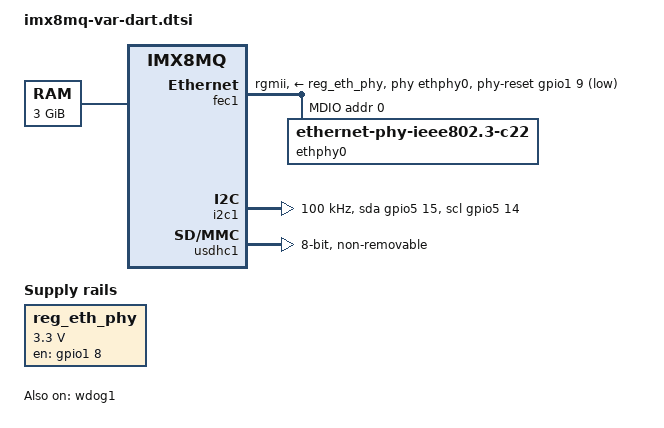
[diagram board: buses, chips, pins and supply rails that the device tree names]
// SPDX-License-Identifier: (GPL-2.0 OR MIT)
/*
 * Copyright 2017 NXP
 * Copyright (C) 2017-2018 Pengutronix, Lucas Stach <kernel@pengutronix.de>
 * Copyright 2020 Variscite Ltd.
 */

/dts-v1/;

#include "imx8mq.dtsi"

/ {
	memory@40000000 {
		device_type = "memory";
		reg = <0x00000000 0x40000000 0 0xc0000000>;
	};

	reg_eth_phy: eth_phy {
		compatible = "regulator-fixed";
		regulator-name = "eth_phy_pwr";
		regulator-min-microvolt = <3300000>;
		regulator-max-microvolt = <3300000>;
		gpio = <&gpio1 8 GPIO_ACTIVE_HIGH>;
		enable-active-high;
	};
};

&fec1 {
	pinctrl-names = "default";
	pinctrl-0 = <&pinctrl_fec1>;
	phy-mode = "rgmii";
	phy-handle = <&ethphy0>;
	phy-supply = <&reg_eth_phy>;
	phy-reset-gpios = <&gpio1 9 GPIO_ACTIVE_LOW>;
	phy-reset-duration = <10>;
	fsl,magic-packet;
	status = "okay";

	mdio {
		#address-cells = <1>;
		#size-cells = <0>;

		ethphy0: ethernet-phy@0 {
			compatible = "ethernet-phy-ieee802.3-c22";
			reg = <0>;
			at803x,eee-disabled;
		};
	};
};

&iomuxc {
	pinctrl-names = "default";

	pinctrl_fec1: fec1grp {
		fsl,pins = <
			MX8MQ_IOMUXC_ENET_MDC_ENET1_MDC			0x3
			MX8MQ_IOMUXC_ENET_MDIO_ENET1_MDIO		0x23
			MX8MQ_IOMUXC_ENET_TD3_ENET1_RGMII_TD3		0x1f
			MX8MQ_IOMUXC_ENET_TD2_ENET1_RGMII_TD2		0x1f
			MX8MQ_IOMUXC_ENET_TD1_ENET1_RGMII_TD1		0x1f
			MX8MQ_IOMUXC_ENET_TD0_ENET1_RGMII_TD0		0x1f
			MX8MQ_IOMUXC_ENET_RD3_ENET1_RGMII_RD3		0x91
			MX8MQ_IOMUXC_ENET_RD2_ENET1_RGMII_RD2		0x91
			MX8MQ_IOMUXC_ENET_RD1_ENET1_RGMII_RD1		0x91
			MX8MQ_IOMUXC_ENET_RD0_ENET1_RGMII_RD0		0x91
			MX8MQ_IOMUXC_ENET_TXC_ENET1_RGMII_TXC		0x1f
			MX8MQ_IOMUXC_ENET_RXC_ENET1_RGMII_RXC		0x91
			MX8MQ_IOMUXC_ENET_RX_CTL_ENET1_RGMII_RX_CTL	0x91
			MX8MQ_IOMUXC_ENET_TX_CTL_ENET1_RGMII_TX_CTL	0x1f
			MX8MQ_IOMUXC_GPIO1_IO08_GPIO1_IO8		0x19
			MX8MQ_IOMUXC_GPIO1_IO09_GPIO1_IO9		0x19
		>;
	};

	pinctrl_i2c1: i2c1grp {
		fsl,pins = <
			MX8MQ_IOMUXC_I2C1_SCL_I2C1_SCL			0x4000007f
			MX8MQ_IOMUXC_I2C1_SDA_I2C1_SDA			0x4000007f
		>;
	};

	pinctrl_i2c1_gpio: i2c1grp-gpio {
		fsl,pins = <
			MX8MQ_IOMUXC_I2C1_SCL_GPIO5_IO14        		0x7f
			MX8MQ_IOMUXC_I2C1_SDA_GPIO5_IO15        		0x7f
		>;
	};

	pinctrl_usdhc1: usdhc1grp {
		fsl,pins = <
			MX8MQ_IOMUXC_SD1_CLK_USDHC1_CLK			0x83
			MX8MQ_IOMUXC_SD1_CMD_USDHC1_CMD			0xc3
			MX8MQ_IOMUXC_SD1_DATA0_USDHC1_DATA0		0xc3
			MX8MQ_IOMUXC_SD1_DATA1_USDHC1_DATA1		0xc3
			MX8MQ_IOMUXC_SD1_DATA2_USDHC1_DATA2		0xc3
			MX8MQ_IOMUXC_SD1_DATA3_USDHC1_DATA3		0xc3
			MX8MQ_IOMUXC_SD1_DATA4_USDHC1_DATA4		0xc3
			MX8MQ_IOMUXC_SD1_DATA5_USDHC1_DATA5		0xc3
			MX8MQ_IOMUXC_SD1_DATA6_USDHC1_DATA6		0xc3
			MX8MQ_IOMUXC_SD1_DATA7_USDHC1_DATA7		0xc3
			MX8MQ_IOMUXC_SD1_STROBE_USDHC1_STROBE 		0x83
			MX8MQ_IOMUXC_SD1_RESET_B_USDHC1_RESET_B		0xc1
		>;
	};

	pinctrl_usdhc1_100mhz: usdhc1-100grp {
		fsl,pins = <
			MX8MQ_IOMUXC_SD1_CLK_USDHC1_CLK			0x8d
			MX8MQ_IOMUXC_SD1_CMD_USDHC1_CMD			0xcd
			MX8MQ_IOMUXC_SD1_DATA0_USDHC1_DATA0		0xcd
			MX8MQ_IOMUXC_SD1_DATA1_USDHC1_DATA1		0xcd
			MX8MQ_IOMUXC_SD1_DATA2_USDHC1_DATA2		0xcd
			MX8MQ_IOMUXC_SD1_DATA3_USDHC1_DATA3		0xcd
			MX8MQ_IOMUXC_SD1_DATA4_USDHC1_DATA4		0xcd
			MX8MQ_IOMUXC_SD1_DATA5_USDHC1_DATA5		0xcd
			MX8MQ_IOMUXC_SD1_DATA6_USDHC1_DATA6		0xcd
			MX8MQ_IOMUXC_SD1_DATA7_USDHC1_DATA7		0xcd
			MX8MQ_IOMUXC_SD1_STROBE_USDHC1_STROBE		0x8d
			MX8MQ_IOMUXC_SD1_RESET_B_USDHC1_RESET_B		0xc1
		>;
	};

	pinctrl_usdhc1_200mhz: usdhc1-200grp {
		fsl,pins = <
			MX8MQ_IOMUXC_SD1_CLK_USDHC1_CLK			0x9f
			MX8MQ_IOMUXC_SD1_CMD_USDHC1_CMD			0xdf
			MX8MQ_IOMUXC_SD1_DATA0_USDHC1_DATA0		0xdf
			MX8MQ_IOMUXC_SD1_DATA1_USDHC1_DATA1		0xdf
			MX8MQ_IOMUXC_SD1_DATA2_USDHC1_DATA2		0xdf
			MX8MQ_IOMUXC_SD1_DATA3_USDHC1_DATA3		0xdf
			MX8MQ_IOMUXC_SD1_DATA4_USDHC1_DATA4		0xdf
			MX8MQ_IOMUXC_SD1_DATA5_USDHC1_DATA5		0xdf
			MX8MQ_IOMUXC_SD1_DATA6_USDHC1_DATA6		0xdf
			MX8MQ_IOMUXC_SD1_DATA7_USDHC1_DATA7		0xdf
			MX8MQ_IOMUXC_SD1_STROBE_USDHC1_STROBE		0x9f
			MX8MQ_IOMUXC_SD1_RESET_B_USDHC1_RESET_B		0xc1
		>;
	};

	pinctrl_wdog: wdog1grp {
		fsl,pins = <
			MX8MQ_IOMUXC_GPIO1_IO02_WDOG1_WDOG_B		0xc6
		>;
	};
};

&i2c1 {
	clock-frequency = <100000>;
	pinctrl-names = "default", "gpio";
	pinctrl-0 = <&pinctrl_i2c1>;
	pinctrl-1 = <&pinctrl_i2c1_gpio>;
	scl-gpios = <&gpio5 14 GPIO_ACTIVE_HIGH>;
	sda-gpios = <&gpio5 15 GPIO_ACTIVE_HIGH>;
	status = "okay";
};

/* eMMC */
&usdhc1 {
	pinctrl-names = "default", "state_100mhz", "state_200mhz";
	pinctrl-0 = <&pinctrl_usdhc1>;
	pinctrl-1 = <&pinctrl_usdhc1_100mhz>;
	pinctrl-2 = <&pinctrl_usdhc1_200mhz>;
	bus-width = <8>;
	non-removable;
	no-sd;
	no-sdio;
	status = "okay";
};

&wdog1 {
	pinctrl-names = "default";
	pinctrl-0 = <&pinctrl_wdog>;
	fsl,ext-reset-output;
	status = "okay";
};
